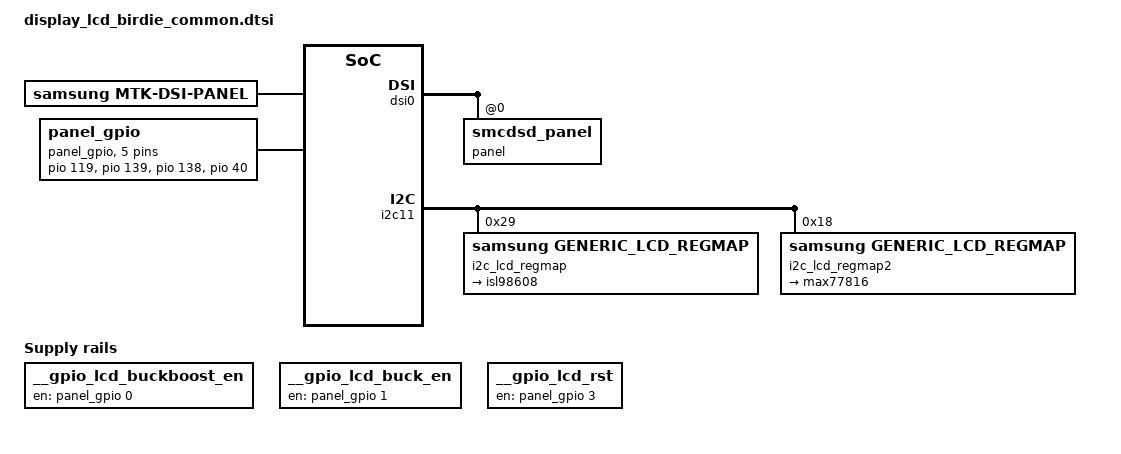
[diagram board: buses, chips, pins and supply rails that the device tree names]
/*
 * SAMSUNG LCD Panel Device Tree Source
 *
 * Copyright (c) Samsung Electronics Co., Ltd.
 *		http://www.samsung.com
 *
 * This program is free software; you can redistribute it and/or modify
 * it under the terms of the GNU General Public License version 2 as
 * published by the Free Software Foundation.
 */

#include <dt-bindings/gpio/gpio.h>

/ {
	fragment@led {
		target-path = "/disp_leds/";
		__overlay__ {
			compatible;
		};
	};

	fragment@pwm {
		target-path = "/pwmleds/";
		__overlay__ {
			compatible;
		};
	};

	fragment@lcd {
		target-path = "/";
		__overlay__ {
			panel {
				compatible = "samsung,mtk-dsi-panel";
				smcdsd_panel = <&hx83102j_boe>;
			};

			panel_gpio: panel_gpio {
				#gpio-cells = <2>;
				gpio-map =	<0 0 &pio 119 0>,	/* LCD_BUCKBOOST_EN */
						<1 0 &pio 139 0>,	/* LCD_BUCK_EN */
						<2 0 &pio 138 0>,	/* LCD_BUCK_EN_N */
						<3 0 &pio 40 0>,	/* LCD_RST_N */
						<4 0 &pio 118 0>;	/* LCD_CON_DET */
				gpio-map-mask = <0xf 0x0>;
				gpio-map-pass-thru = <0x0 0xf>;
			};

			lcd_fixed_regulator: lcd_fixed_regulator {
				compatible = "simple-bus";

				__gpio_lcd_buckboost_en: __gpio_lcd_buckboost_en {
					compatible = "regulator-fixed";
					regulator-name = "lcd_buckboost_en";
					gpio = <&panel_gpio 0 0>;	/* LCD_BUCKBOOST_EN */
					enable-active-high;
					regulator-boot-on;
				};
				__gpio_lcd_buck_en: __gpio_lcd_buck_en {
					compatible = "regulator-fixed";
					regulator-name = "lcd_buck_en";
					gpio = <&panel_gpio 1 0>;	/* LCD_BUCK_EN */
					enable-active-high;
					regulator-boot-on;
				};
				__gpio_lcd_rst: __gpio_lcd_rst {
					compatible = "regulator-fixed";
					regulator-name = "lcd_rst";
					gpio = <&panel_gpio 3 0>;	/* LCD_RST_N */
					enable-active-high;
					regulator-boot-on;
				};
			};

			smcdsd_board_hx83102j: smcdsd_board_hx83102j {
				gpio_con = <&panel_gpio 4 GPIO_ACTIVE_HIGH>;	/* LCD_CON_DET */

				panel_power_enable {
					type =
					"regulator,enable",	"lcd_buckboost_en",
					"delay,usleep",	"1000",
					"regulator,enable",	"lcd_vddi",
					"delay,usleep",	"1000",
					"regulator,enable",	"lcd_buck_en",
					"delay,usleep",	"1000",
					"regulator,enable",	"lcd_buck_boost",
					"regulator,enable",	"lcd_buck";
				};
				panel_power_disable {
					type =
					"regulator,disable",	"lcd_buck",
					"regulator,disable",	"lcd_buck_boost",
					"delay,usleep",	"3000",
					"regulator,disable",	"lcd_buck_en",
					"delay,usleep",	"5000",
					"regulator,disable",	"lcd_vddi",
					"delay,usleep",	"3000",
					"regulator,disable",	"lcd_buckboost_en",
					"delay,msleep",	"20";
				};
				panel_reset_enable {
					type =
					"delay,usleep",	"3000",
					"regulator,enable",	"lcd_rst",
					"delay,usleep",	"1000",
					"regulator,disable",	"lcd_rst",
					"delay,usleep",	"1000",
					"regulator,enable",	"lcd_rst",
					"delay,msleep",	"15";
				};
				panel_reset_disable {
					type =
					"delay,msleep",	"70",
					"regulator,disable",	"lcd_rst",
					"delay,usleep",	"1000";
				};
				panel_not_connected {
					type =
					"regulator,disable",	"lcd_rst",
					"regulator,disable",	"lcd_buck",
					"regulator,disable",	"lcd_buck_boost",
					"regulator,disable",	"lcd_buck_en",
					"regulator,disable",	"lcd_vddi",
					"regulator,disable",	"lcd_buckboost_en";
				};
			};

			hx83102j_boe: hx83102j_boe {
				/* id_match: MASK(HEX) EXPECT(HEX) */
				id_match = <
					0xFFFFFF 0x4CD230
				>;
				lcm_params-types = <2>; /* 0: LCM_TYPE_DBI, 1: LCM_TYPE_DPI, 2: LCM_TYPE_DSI */
				lcm_params-dsi-mode = <3>;	/* 0: CMD, 1: SYNC_PULSE_VDO, 2: SYNC_EVENT_VDO, 3: BURST_VDO */
				lcm_params-dsi-lane_num = <3>;

				lcm_params-resolution = <1440 2304>;
				lcm_params-physical_width = <147>;	/* 146.7936mm x 234.86976mm */
				lcm_params-physical_height = <235>;

				lcm_params-dsi-horizontal_sync_active = <20>;
				lcm_params-dsi-horizontal_backporch = <40>;
				lcm_params-dsi-horizontal_frontporch = <172>;
				lcm_params-dsi-vertical_sync_active = <8>;
				lcm_params-dsi-vertical_backporch = <12>;
				lcm_params-dsi-vertical_frontporch = <96>;

				lcm_params-dsi-data_rate = <850>;
				lcm_params-dsi-ssc_disable = <1>;
				lcm_params-dsi-cont_clock = <1>;
				lcm_params-dsi-is_cphy = <1>;

				drm_params-vrefresh = <60>;

				smcdsd_board = <&smcdsd_board_hx83102j>;
			};

			lcd_generic_supply: lcd-generic-supply {
				tuple_type_default: tuple-default {
					tuple-order = "reg", "val";
				};
				tuple_type_with_delay: tuple-type1 {
					tuple-order = "reg", "val", "delay";
				};
				tuple_type_with_mask: tuple-type2 {
					tuple-order = "reg", "val", "mask";
				};
				tuple_type_with_mask_delay: tuple-type3 {
					tuple-order = "reg", "val", "mask", "delay";
				};
			};
		};
	};
};

&mt_pmic_vcamio_ldo_reg {
	regulator-name = "lcd_vddi";
	regulator-boot-on;
};

&dsi0 {
	panel@0 {
		compatible = "smcdsd_panel";
	};
};

&i2c11 {
	i2c_lcd_regmap:i2c_lcd_regmap@29 {
		compatible = "samsung,generic_lcd_regmap";
		reg = <0x29>;

		isl98608: isl98608 {
			compatible = "samsung,generic_lcd_supply";
			regulator-name = "lcd_buck";
			regulator-boot-on;

			enable = /bits/ 8 <
				0x06 0x08
				0x08 0x08
				0x09 0x08
			>;
		};
	};

	i2c_lcd_bias@18 {
		status = "disabled";
	};

	i2c_lcd_regmap2:i2c_lcd_regmap@18 {
		compatible = "samsung,generic_lcd_regmap";
		reg = <0x18>;

		max77816: max77816 {
			compatible = "samsung,generic_lcd_supply";
			regulator-name = "lcd_buck_boost";
			regulator-boot-on;
			tuple-type = <&tuple_type_with_delay>;
#if 0
			enable = /bits/ 8 <
				0x03 0x70 0
				0x02 0x8E 0
				0x04 0x78 0
			>;
#endif
			disable = /bits/ 8 <
				0x03 0x32 0
			>;
		};
	};
};


